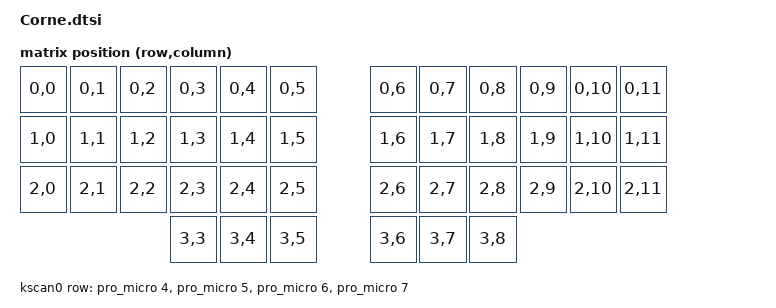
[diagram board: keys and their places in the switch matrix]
/*
 * Copyright (c) 2020 Pete Johanson
 *
 * SPDX-License-Identifier: MIT
 */
#include <dt-bindings/led/led.h>
#include <dt-bindings/zmk/matrix_transform.h>
#include <dt-bindings/zmk/corne_positions.h>
#include <dt-bindings/zmk/perkey_rgb.h>
#include "Corne-layouts.dtsi"
/ {
	/*
	 * Which key each strip LED sits under, in strip order. PRGB_UG marks an
	 * LED that is not under a key.
	 *
	 * The chain is 6 underglow LEDs, then the per-key LEDs snaking column by
	 * column from the inside out: the inner column runs bottom to top, the
	 * next runs top to bottom, and so on. The inner thumb leads its column,
	 * the middle thumb trails the next one, and the outer thumb leads the
	 * one after that.
	 *
	 * left-leds verified on hardware with CONFIG_ZMK_PERKEY_RGB_CHASE.
	 * right-leds is the mirror image and is still UNVERIFIED.
	 */
	perkey_rgb_map: perkey_rgb_map {
		compatible = "zmk,perkey-rgb-map";

		left-leds
			= <PRGB_UG PRGB_UG PRGB_UG PRGB_UG PRGB_UG PRGB_UG>
			, <POS_TH3 POS_B6  POS_H6  POS_T6>
			, <POS_T5  POS_H5  POS_B5  POS_TH2>
			, <POS_TH1 POS_B4  POS_H4  POS_T4>
			, <POS_T3  POS_H3  POS_B3>
			, <POS_B2  POS_H2  POS_T2>
			, <POS_T1  POS_H1  POS_B1>
			;

		right-leds
			= <PRGB_UG PRGB_UG PRGB_UG PRGB_UG PRGB_UG PRGB_UG>
			, <POS_TH4 POS_B7  POS_H7  POS_T7>
			, <POS_T8  POS_H8  POS_B8  POS_TH5>
			, <POS_TH6 POS_B9  POS_H9  POS_T9>
			, <POS_T10 POS_H10 POS_B10>
			, <POS_B11 POS_H11 POS_T11>
			, <POS_T12 POS_H12 POS_B12>
			;
	};

	behaviors {
		/* Internal transport for the per-key RGB layer state. The device
		 * name is relayed as a string in a 16-byte field, so it must stay
		 * short. */
		prgb_sync: prgb_sync {
			compatible = "zmk,behavior-perkey-rgb-sync";
			#binding-cells = <2>;
			display-name = "Per-key RGB sync";
		};
	};

	chosen {
		zephyr,display = &oled;
		zmk,kscan = &kscan0;
		zmk,physical-layout = &layout_0;
		zmk,underglow = &led_strip;
	};

	default_transform: keymap_transform_0 {
		compatible = "zmk,matrix-transform";
		columns = <12>;
		rows = <4>;
// | SW1  | SW2  | SW3  | SW4  | SW5  | SW6  |   | SW6  | SW5  | SW4  | SW3  | SW2  | SW1  |
// | SW7  | SW8  | SW9  | SW10 | SW11 | SW12 |   | SW12 | SW11 | SW10 | SW9  | SW8  | SW7  |
// | SW13 | SW14 | SW15 | SW16 | SW17 | SW18 |   | SW18 | SW17 | SW16 | SW15 | SW14 | SW13 |
//                      | SW19 | SW20 | SW21 |   | SW21 | SW20 | SW19 |
		map = <
RC(0,0) RC(0,1) RC(0,2) RC(0,3) RC(0,4) RC(0,5)  RC(0,6)  RC(0,7) RC(0,8) RC(0,9) RC(0,10) RC(0,11)
RC(1,0) RC(1,1) RC(1,2) RC(1,3) RC(1,4) RC(1,5)  RC(1,6)  RC(1,7) RC(1,8) RC(1,9) RC(1,10) RC(1,11)
RC(2,0) RC(2,1) RC(2,2) RC(2,3) RC(2,4) RC(2,5)  RC(2,6)  RC(2,7) RC(2,8) RC(2,9) RC(2,10) RC(2,11)
                        RC(3,3) RC(3,4) RC(3,5)  RC(3,6) RC(3,7) RC(3,8)
		>;
	};

	 kscan0: kscan {
        compatible = "zmk,kscan-gpio-matrix";
        label = "KSCAN";
        wakeup-source;
        diode-direction = "col2row";
		row-gpios
			= <&pro_micro 4 (GPIO_ACTIVE_HIGH | GPIO_PULL_DOWN)>
			, <&pro_micro 5 (GPIO_ACTIVE_HIGH | GPIO_PULL_DOWN)>
			, <&pro_micro 6 (GPIO_ACTIVE_HIGH | GPIO_PULL_DOWN)>
			, <&pro_micro 7 (GPIO_ACTIVE_HIGH | GPIO_PULL_DOWN)>
			;
    };
};

// oled,I2c
&pinctrl {
       i2c0_default: i2c0_default {
               group1 {
                       psels = <NRF_PSEL(TWIM_SDA, 0, 17)>,
                               <NRF_PSEL(TWIM_SCL, 0, 20)>;
               };
       };

       i2c0_sleep: i2c0_sleep {
               group1 {
                       psels = <NRF_PSEL(TWIM_SDA, 0, 17)>,
                               <NRF_PSEL(TWIM_SCL, 0, 20)>;
                       low-power-enable;
               };
       };
};


&pro_micro_i2c {
    status = "okay";

    oled: ssd1306@3c {
        compatible = "solomon,ssd1306fb";
        reg = <0x3c>;
        width = <128>;
        height = <32>;
        segment-offset = <0>;
        page-offset = <0>;
        display-offset = <0>;
        multiplex-ratio = <31>;
        segment-remap;
        com-invdir;
        com-sequential;
        inversion-on;
        prechargep = <0x22>;
    };
};

// rgb,SPI
&pinctrl {
    spi3_default: spi3_default {
        group1 {
            psels = <NRF_PSEL(SPIM_MOSI, 0, 6)>;
        };
    };

    spi3_sleep: spi3_sleep {
        group1 {
            psels = <NRF_PSEL(SPIM_MOSI, 0, 6)>;
            low-power-enable;
		};
	};
};

&spi3 {
	compatible = "nordic,nrf-spim";
	status = "okay";

	pinctrl-0 = <&spi3_default>;
	pinctrl-1 = <&spi3_sleep>;
	pinctrl-names = "default", "sleep";


	led_strip: ws2812@0 {
		compatible = "worldsemi,ws2812-spi";
		label = "WS2812";

		/* SPI */
		reg = <0>; /* ignored, but necessary for SPI bindings */
		spi-max-frequency = <4000000>;

		/* WS2812 */
		chain-length = <27>; /* There are per-key RGB, but the first 6 are underglow */
		spi-one-frame = <0x70>;
		spi-zero-frame = <0x40>;
		color-mapping = <LED_COLOR_ID_GREEN LED_COLOR_ID_RED LED_COLOR_ID_BLUE>;
	};
};


